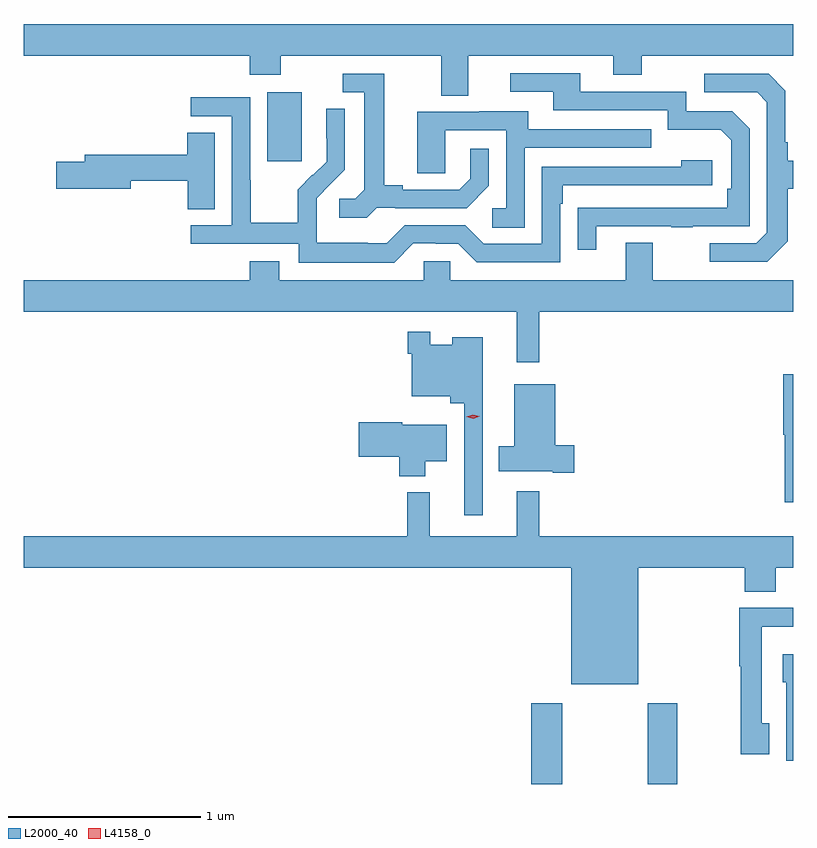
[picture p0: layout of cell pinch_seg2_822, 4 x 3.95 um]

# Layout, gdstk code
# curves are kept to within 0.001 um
import gdstk
lib = gdstk.Library(unit=1e-6, precision=1e-09)
def R(c, l, rs):  # rectangles x0, y0, x1, y1
    for r in rs: c.add(gdstk.rectangle(r[:2], r[2:], *l))
def P(c, l, *ps):  # polygons
    for p in ps: c.add(gdstk.Polygon(p, *l))
L2000_40 = (2000, 40)
L4158_0 = (4158, 0)

pinch_seg2_822 = lib.new_cell('pinch_seg2_822')
R(pinch_seg2_822, L2000_40, [(832.697,615.875,832.857,616.294), (833.302,615.875,833.457,616.294), (831.323,619.113,831.502,619.474)])
P(pinch_seg2_822, L2000_40, [(832.369,619.664),(833.123,619.664),(833.123,619.565),(833.271,619.565),(833.271,619.664),(834.058,619.664),(834.058,619.828),(830.058,619.828),(830.058,619.664),(831.233,619.664),(831.233,619.565),(831.393,619.565),(831.393,619.664),(832.229,619.664),(832.229,619.456),(832.369,619.456)],
  [(833.035,618.777),(833.425,618.777),(833.425,618.772),(833.537,618.772),(833.537,618.777),(833.832,618.777),(833.832,619.284),(833.742,619.374),(833.502,619.374),(833.502,619.476),(832.951,619.476),(832.951,619.572),(832.587,619.572),(832.587,619.476),(832.811,619.476),(832.811,619.38),(833.406,619.38),(833.406,619.277),(833.683,619.277),(833.736,619.224),(833.736,618.97),(833.716,618.97),(833.716,618.873),(832.939,618.872),(832.939,618.654),(833.035,618.654)],
  [(834.031,618.697),(834.031,618.97),(834.058,618.97),(834.058,619.117),(834.031,619.117),(834.031,619.213),(834.018,619.213),(834.018,619.482),(833.931,619.569),(833.595,619.569),(833.595,619.473),(833.871,619.473),(833.922,619.422),(833.922,618.741),(833.868,618.687),(833.625,618.687),(833.625,618.591),(833.925,618.591)],
  [(831.894,618.873),(831.988,618.873),(831.988,618.87),(832.36,618.87),(832.476,618.986),(832.476,619.18),(832.379,619.18),(832.379,619.023),(832.322,618.966),(832.027,618.966),(832.027,618.989),(831.931,618.989),(831.931,619.569),(831.717,619.569),(831.717,619.473),(831.827,619.473),(831.827,618.965),(831.78,618.918),(831.699,618.918),(831.699,618.821),(831.842,618.821)],
  [(832.083,618.687),(832.199,618.687),(832.199,618.684),(832.317,618.684),(832.413,618.588),(832.848,618.588),(832.848,618.893),(832.861,618.893),(832.861,618.99),(833.638,618.99),(833.638,619.12),(833.477,619.12),(833.477,619.086),(832.752,619.086),(832.752,618.684),(832.449,618.684),(832.353,618.78),(832.038,618.78),(831.945,618.687),(831.845,618.687),(831.845,618.691),(831.582,618.691),(831.582,618.825),(831.58,618.825),(831.58,618.922),(831.726,619.07),(831.726,619.388),(831.63,619.388),(831.63,619.234),(831.632,619.234),(831.632,619.112),(831.561,619.041),(831.558,619.044),(831.481,618.967),(831.481,618.793),(831.237,618.793),(831.237,619.016),(831.234,619.016),(831.234,619.446),(830.925,619.446),(830.925,619.347),(831.138,619.347),(831.138,618.78),(830.925,618.78),(830.925,618.684),(831.486,618.684),(831.486,618.587),(831.983,618.587)],
  [(832.662,619.185),(833.321,619.185),(833.321,619.281),(832.681,619.281),(832.681,619.375),(832.427,619.375),(832.427,619.371),(832.103,619.371),(832.103,619.051),(832.248,619.051),(832.248,619.275),(832.566,619.275),(832.566,618.87),(832.494,618.87),(832.494,618.769),(832.662,618.769)],
  [(831.049,619.262),(830.906,619.262),(830.906,619.148),(830.375,619.148),(830.375,619.112),(830.226,619.112),(830.226,618.97),(830.614,618.97),(830.614,619.012),(830.911,619.012),(830.911,618.865),(831.049,618.865)],
  [(832.739,618.332),(834.058,618.332),(834.058,618.496),(833.329,618.496),(833.329,618.691),(833.189,618.691),(833.189,618.496),(832.275,618.496),(832.275,618.594),(832.137,618.594),(832.137,618.496),(831.385,618.496),(831.385,618.595),(831.233,618.595),(831.233,618.496),(830.058,618.496),(830.058,618.332),(832.622,618.332),(832.622,618.069),(832.739,618.069)],
  [(832.443,617.759),(832.444,617.759),(832.444,618.199),(832.286,618.199),(832.286,618.16),(832.17,618.16),(832.17,618.226),(832.054,618.226),(832.054,618.113),(832.074,618.113),(832.074,617.891),(832.274,617.891),(832.274,617.855),(832.347,617.855),(832.347,617.274),(832.443,617.274)],
  [(834.058,618.007),(834.008,618.007),(834.008,617.691),(834.014,617.691),(834.014,617.34),(834.058,617.34)],
  [(832.921,617.636),(832.822,617.636),(832.822,617.953),(832.607,617.953),(832.607,617.631),(832.528,617.631),(832.528,617.501),(832.808,617.501),(832.808,617.494),(832.921,617.494)],
  [(832.144,617.555),(832.258,617.555),(832.258,617.743),(832.026,617.743),(832.026,617.756),(831.798,617.756),(831.798,617.578),(832.01,617.578),(832.01,617.477),(832.144,617.477)],
  [(833.254,617),(833.807,617),(833.807,616.876),(833.967,616.876),(833.967,617),(834.058,617),(834.058,617.164),(832.739,617.164),(832.739,617.398),(832.622,617.398),(832.622,617.164),(832.169,617.164),(832.169,617.392),(832.051,617.392),(832.051,617.164),(830.058,617.164),(830.058,617),(832.904,617),(832.904,616.394),(833.254,616.394)],
  [(833.935,616.19),(833.895,616.19),(833.895,616.694),(834.058,616.694),(834.058,616.793),(834.029,616.793),(834.029,616.791),(833.779,616.791),(833.779,616.488),(833.787,616.488),(833.787,616.029),(833.935,616.029)],
  [(834.058,616.549),(834.005,616.549),(834.005,616.404),(834.023,616.404),(834.023,615.996),(834.058,615.996)])
P(pinch_seg2_822, L4158_0, [(832.394,617.776),(832.358,617.785),(832.358,617.785),(832.358,617.785),(832.393,617.796),(832.429,617.788),(832.429,617.787),(832.429,617.787)])

lib.write_gds('pinch_seg2_822.gds')
